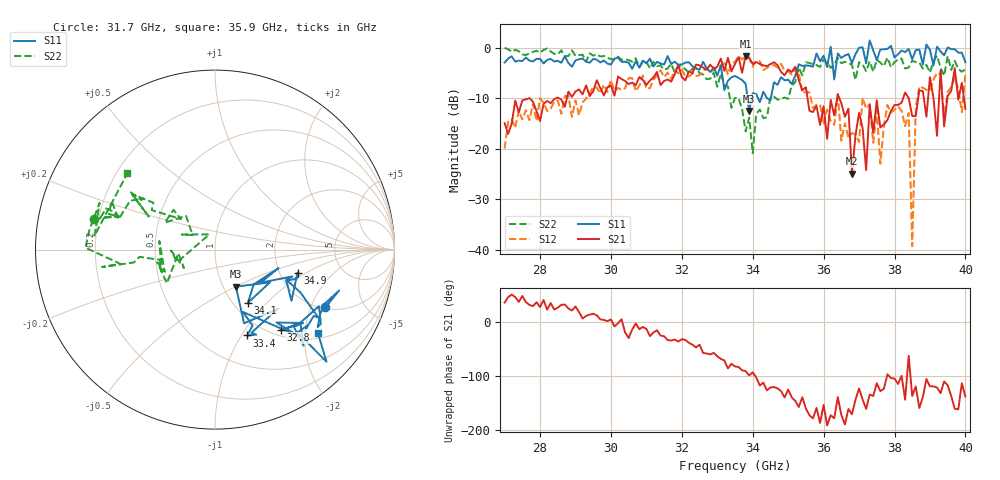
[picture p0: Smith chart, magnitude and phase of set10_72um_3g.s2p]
! Quiescent point : V1=-1.75358E-03 I1=+3.26414E-04 V2=-1.50604E-02 I2=-4.72744E-03
! Pulsed point : V1=-1.88172E-03 I1=+3.24960E-04 V2=-1.51303E-02 I2=-4.69882E-03
! Period : +2.00000E-04
! Input Supply timing : delay=+1.60000E-06 width=+2.20000E-06
! Output Supply timing : delay=+1.70000E-06 width=+2.00000E-06
! VNA timing : delay=+2.40000E-06 width=+1.10000E-06
# Hz S RI R 50
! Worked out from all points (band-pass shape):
!   131 points, 27 GHz to 40 GHz, reference 50 ohm
!   highest |S21| = -1.59 dB at 33.8 GHz (marker M1); lowest = -25.0 dB at 36.8 GHz (marker M2)
!   |S21| within 3 dB of the highest: 32.32 GHz to 33.4 GHz (1.074 GHz wide, 3.27 % of centre); 33.71 GHz to 34.79 GHz (1.077 GHz wide, 3.14 % of centre)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
!   lowest |S11| = -12.5 dB at 33.9 GHz (marker M3), VSWR 1.62, Z = 57.3 - j25.1 ohm
!   |S11| at or under -10 dB: 33.85372 GHz to 33.97059 GHz (116.9 MHz wide, 0.345 % of centre); 34.15273 GHz to 34.23619 GHz (83.47 MHz wide, 0.244 % of centre); 34.41193 GHz to 34.51132 GHz (99.4 MHz wide, 0.288 % of centre)
!   |S22| runs from -20.9 to 0.0 dB; largest |S21 - S12| = 0.43
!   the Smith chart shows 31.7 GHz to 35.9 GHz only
!   S11 on the Smith chart (normalised r, x): 31.7 GHz: 2.05, -2.55; 32.8 GHz: 1.10, -1.49; 33.4 GHz: 0.82, -1.06; 34.1 GHz: 1.17, -0.79; 34.9 GHz: 2.51, -0.83; 35.9 GHz: 1.16, -2.33
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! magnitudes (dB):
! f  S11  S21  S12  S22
! 27 GHz  -2.9  -14.9  -19.9  0.0
! 29.2 GHz  -2.1  -9.2  -10.8  -1.3
! 31.4 GHz  -3.1  -7.4  -4.5  -3.5
! 31.7 GHz  -3.2  -6.7  -6.2  -3.2
! 32.8 GHz  -4.8  -3.3  -4.9  -6.1
! 33.4 GHz  -5.8  -4.6  -3.0  -11.9
! 33.5 GHz  -5.6  -3.2  -2.8  -9.9
! 33.8 GHz  -7.1  -1.6  -1.7  -16.6
! 33.9 GHz  -12.5  -1.9  -1.9  -13.8
! 34.1 GHz  -9.2  -2.8  -2.5  -13.1
! 34.9 GHz  -6.4  -5.4  -4.5  -9.9
! 35.7 GHz  -3.7  -12.7  -11.9  -3.2
! 35.9 GHz  -2.7  -15.3  -11.2  -3.8
! 36.7 GHz  -1.2  -12.0  -17.7  -3.0
! 36.8 GHz  -3.0  -25.0  -16.9  -3.3
! 37 GHz  0.0  -12.9  -18.7  -2.8
! 37.9 GHz  0.4  -12.5  -12.8  -3.8
! 38.4 GHz  -0.2  -9.9  -12.9  -3.9
! 38.5 GHz  -2.2  -13.5  -39.3  -2.5
! 38.6 GHz  -0.4  -13.5  -11.8  -2.8
! 38.7 GHz  -0.3  -8.4  -7.6  -2.9
! 40 GHz  -2.8  -12.1  -5.1  -4.2
